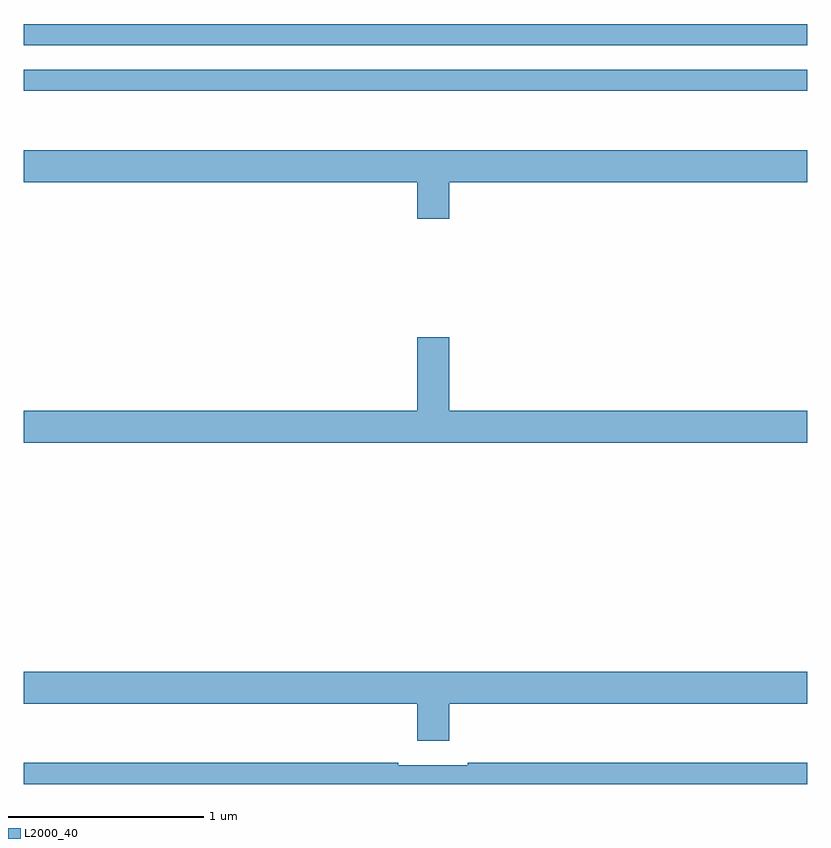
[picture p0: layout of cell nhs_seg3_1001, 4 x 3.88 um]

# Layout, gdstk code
import gdstk
lib = gdstk.Library(unit=1e-6, precision=1e-09)
def R(c, l, rs):  # rectangles x0, y0, x1, y1
    for r in rs: c.add(gdstk.rectangle(r[:2], r[2:], *l))
def P(c, l, *ps):  # polygons
    for p in ps: c.add(gdstk.Polygon(p, *l))
L2000_40 = (2000, 40)

nhs_seg3_1001 = lib.new_cell('nhs_seg3_1001')
R(nhs_seg3_1001, L2000_40, [(163,692.058,167,692.166), (163,692.292,167,692.4)])
P(nhs_seg3_1001, L2000_40, [(165.172,691.592),(167,691.592),(167,691.756),(163,691.756),(163,691.592),(165.008,691.592),(165.008,691.404),(165.172,691.404)],
  [(167,690.424),(165.172,690.424),(165.172,690.799),(165.008,690.799),(165.008,690.424),(163,690.424),(163,690.26),(167,690.26)],
  [(165.172,688.928),(167,688.928),(167,689.092),(163,689.092),(163,688.928),(165.008,688.928),(165.008,688.74),(165.172,688.74)],
  [(167,688.627),(165.268,688.627),(165.268,688.614),(164.912,688.614),(164.912,688.627),(163,688.627),(163,688.518),(167,688.518)])

lib.write_gds('nhs_seg3_1001.gds')
